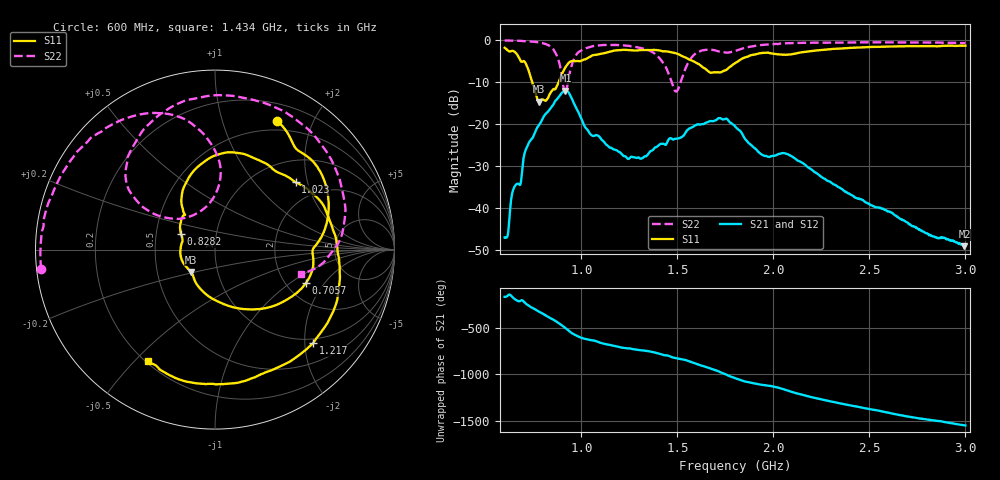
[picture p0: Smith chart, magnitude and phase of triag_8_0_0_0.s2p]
#  HZ  S  RI  R  50.00
! Rohde & Schwarz ZVB8 2Ports - Version 2.81 - 1145.1010k08 SN: 100113
! Date: 2016-05-03 01:37:03
! Measurements: S11 S21 S12 S22
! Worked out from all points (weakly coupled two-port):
!   1000 points, 600 MHz to 3 GHz, reference 50 ohm
!   highest |S21| = -12.14 dB at 917.1 MHz (marker M1); lowest = -49.1 dB at 2.995 GHz (marker M2)
!   lowest |S11| = -14.7 dB at 777.8 MHz (marker M3), VSWR 1.45, Z = 37.1 - j9.55 ohm
!   |S11| at or under -10 dB: 743.2 MHz to 882 MHz (138.8 MHz wide, 17.1 % of centre)
!   |S22| runs from -12.9 to -0.2 dB; largest |S21 - S12| = 0.0015
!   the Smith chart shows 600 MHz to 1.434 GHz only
!   S11 on the Smith chart (normalised r, x): 600 MHz: 0.38, +1.52; 705.7 MHz: 2.55, -1.34; 828.2 MHz: 0.67, +0.12; 1.023 GHz: 1.48, +1.69; 1.217 GHz: 0.90, -2.18; 1.434 GHz: 0.21, -0.55
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6e8  0.3463 0.7191  -0.00423 -0.00141  -0.00427 -0.00143  -0.9691 -0.1071
7.057057e8  0.5067 -0.1867  -0.0323 0.0324  -0.0321 0.0326  -0.8884 0.3505
7.777778e8  -0.1345 -0.1244  0.073 0.0612  0.0728 0.0621  -0.679 0.6331
8.282282e8  -0.1895 0.0851  0.1326 -0.0484  0.1325 -0.0479  -0.4003 0.7561
8.858859e8  -0.1876 0.2759  -0.00288 -0.2136  -0.0021 -0.2131  0.0156 0.517
9.171171e8  -0.0988 0.4588  -0.1896 -0.1586  -0.1885 -0.1591  -0.121 0.1918
1.001201e9  0.3717 0.4213  -0.0474 0.102  -0.0479 0.1016  -0.4423 0.5991
1.022823e9  0.4497 0.3752  -0.0207 0.0865  -0.021 0.0862  -0.3752 0.6921
1.217417e9  0.5465 -0.5205  0.0414 0.00583  0.0412 0.00602  0.4543 0.7219
1.4e9  -0.2509 -0.7007  0.0334 -0.0435  0.0334 -0.0433  0.6225 -0.0503
1.433634e9  -0.372 -0.6223  0.0168 -0.054  0.0168 -0.0539  0.4781 -0.1367
1.493694e9  -0.5378 -0.4241  -0.0165 -0.0641  -0.0161 -0.064  0.2399 0.0209
1.558559e9  -0.5518 -0.1904  -0.0625 -0.06  -0.0622 -0.0601  0.4988 0.2135
1.635435e9  -0.4628 -0.0245  -0.0973 0.0175  -0.0972 0.017  0.7351 -0.1234
1.801201e9  -0.5256 0.0083  0.0719 0.0576  0.0714 0.0577  0.4994 -0.5332
1.930931e9  -0.5451 0.4198  0.0386 -0.0215  0.0387 -0.0212  0.2183 -0.8294
2.2e9  0.2162 0.7001  -0.0276 -0.00692  -0.0275 -0.00697  -0.5686 -0.719
2.413814e9  0.7876 0.1341  -0.00241 0.0137  -0.00246 0.0137  -0.8827 -0.2713
2.601201e9  0.5695 -0.5977  0.00816 0.00385  0.00812 0.00392  -0.9101 0.1627
2.786186e9  -0.1044 -0.829  0.00374 -0.0035  0.00379 -0.00348  -0.7315 0.5546
2.995195e9  -0.7191 -0.443  -0.00117 -0.0033  -0.00117 -0.00335  -0.3395 0.8419
3e9  -0.7261 -0.4293  -0.00128 -0.0033  -0.00126 -0.00327  -0.3259 0.8466
